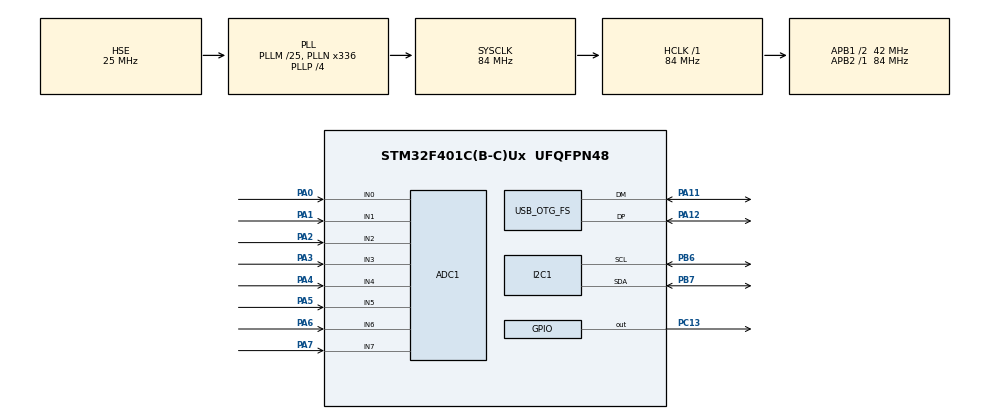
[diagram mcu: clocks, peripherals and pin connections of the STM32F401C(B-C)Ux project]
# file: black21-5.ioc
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ADC1.Channel-0\#ChannelRegularConversion=ADC_CHANNEL_0
ADC1.Channel-1\#ChannelRegularConversion=ADC_CHANNEL_1
ADC1.Channel-2\#ChannelRegularConversion=ADC_CHANNEL_2
ADC1.Channel-3\#ChannelRegularConversion=ADC_CHANNEL_3
ADC1.Channel-4\#ChannelRegularConversion=ADC_CHANNEL_4
ADC1.Channel-5\#ChannelRegularConversion=ADC_CHANNEL_5
ADC1.Channel-6\#ChannelRegularConversion=ADC_CHANNEL_6
ADC1.Channel-7\#ChannelRegularConversion=ADC_CHANNEL_7
ADC1.NbrOfConversion=8
ADC1.NbrOfConversionFlag=1
ADC1.Rank-0\#ChannelRegularConversion=1
ADC1.Rank-1\#ChannelRegularConversion=2
ADC1.Rank-2\#ChannelRegularConversion=3
ADC1.Rank-3\#ChannelRegularConversion=4
ADC1.Rank-4\#ChannelRegularConversion=5
ADC1.Rank-5\#ChannelRegularConversion=6
ADC1.Rank-6\#ChannelRegularConversion=7
ADC1.Rank-7\#ChannelRegularConversion=8
ADC1.SamplingTime-0\#ChannelRegularConversion=ADC_SAMPLETIME_15CYCLES
ADC1.SamplingTime-1\#ChannelRegularConversion=ADC_SAMPLETIME_15CYCLES
ADC1.SamplingTime-2\#ChannelRegularConversion=ADC_SAMPLETIME_15CYCLES
ADC1.SamplingTime-3\#ChannelRegularConversion=ADC_SAMPLETIME_15CYCLES
ADC1.SamplingTime-4\#ChannelRegularConversion=ADC_SAMPLETIME_15CYCLES
ADC1.SamplingTime-5\#ChannelRegularConversion=ADC_SAMPLETIME_15CYCLES
ADC1.SamplingTime-6\#ChannelRegularConversion=ADC_SAMPLETIME_15CYCLES
ADC1.SamplingTime-7\#ChannelRegularConversion=ADC_SAMPLETIME_15CYCLES
ADC1.master=1
Dma.ADC1.0.Direction=DMA_PERIPH_TO_MEMORY
Dma.ADC1.0.FIFOMode=DMA_FIFOMODE_DISABLE
Dma.ADC1.0.Instance=DMA2_Stream0
Dma.ADC1.0.MemDataAlignment=DMA_MDATAALIGN_HALFWORD
Dma.ADC1.0.MemInc=DMA_MINC_ENABLE
Dma.ADC1.0.Mode=DMA_NORMAL
Dma.ADC1.0.PeriphDataAlignment=DMA_PDATAALIGN_HALFWORD
Dma.ADC1.0.PeriphInc=DMA_PINC_DISABLE
Dma.ADC1.0.Priority=DMA_PRIORITY_LOW
Dma.Request0=ADC1
I2C1.I2C_Mode=I2C_Fast
Mcu.Family=STM32F4
Mcu.Name=STM32F401C(B-C)Ux
Mcu.Package=UFQFPN48
NVIC.DMA2_Stream0_IRQn=true\:0\:0\:false\:false\:true\:false\:true\:true
NVIC.OTG_FS_IRQn=true\:0\:0\:false\:false\:true\:false\:true\:true
NVIC.PriorityGroup=NVIC_PRIORITYGROUP_4
PA0-WKUP.Signal=ADCx_IN0
PA1.Signal=ADCx_IN1
PA11.Mode=Device_Only
PA11.Signal=USB_OTG_FS_DM
PA12.Mode=Device_Only
PA12.Signal=USB_OTG_FS_DP
PA2.Signal=ADCx_IN2
PA3.Signal=ADCx_IN3
PA4.Signal=ADCx_IN4
PA5.Signal=ADCx_IN5
PA6.Signal=ADCx_IN6
PA7.Signal=ADCx_IN7
PB6.Mode=I2C
PB6.Signal=I2C1_SCL
PB7.Mode=I2C
PB7.Signal=I2C1_SDA
PC13-ANTI_TAMP.Signal=GPIO_Output
PH0\ -\ OSC_IN.Mode=HSE-External-Oscillator
PH0\ -\ OSC_IN.Signal=RCC_OSC_IN
PH1\ -\ OSC_OUT.Mode=HSE-External-Oscillator
PH1\ -\ OSC_OUT.Signal=RCC_OSC_OUT
ProjectManager.HeapSize=0x200
ProjectManager.StackSize=0x400
ProjectManager.TargetToolchain=STM32CubeIDE
RCC.48MHZClocksFreq_Value=48000000
RCC.AHBFreq_Value=84000000
RCC.APB1CLKDivider=RCC_HCLK_DIV2
RCC.APB1Freq_Value=42000000
RCC.APB1TimFreq_Value=84000000
RCC.APB2Freq_Value=84000000
RCC.APB2TimFreq_Value=84000000
RCC.CortexFreq_Value=84000000
RCC.HCLKFreq_Value=84000000
RCC.HSE_VALUE=25000000
RCC.HSI_VALUE=16000000
RCC.LSE_VALUE=32768
RCC.PLLM=25
RCC.PLLN=336
RCC.PLLP=RCC_PLLP_DIV4
RCC.PLLQ=7
RCC.SYSCLKFreq_VALUE=84000000
RCC.SYSCLKSource=RCC_SYSCLKSOURCE_PLLCLK
RCC.VCOOutputFreq_Value=336000000
SH.ADCx_IN0.0=ADC1_IN0,IN0
SH.ADCx_IN1.0=ADC1_IN1,IN1
SH.ADCx_IN2.0=ADC1_IN2,IN2
SH.ADCx_IN3.0=ADC1_IN3,IN3
SH.ADCx_IN4.0=ADC1_IN4,IN4
SH.ADCx_IN5.0=ADC1_IN5,IN5
SH.ADCx_IN6.0=ADC1_IN6,IN6
SH.ADCx_IN7.0=ADC1_IN7,IN7
USB_DEVICE.CLASS_NAME_FS=CDC
USB_DEVICE.VirtualMode=Cdc
USB_DEVICE.VirtualModeFS=Cdc_FS
USB_OTG_FS.VirtualMode=Device_Only
VP_USB_DEVICE_VS_USB_DEVICE_CDC_FS.Mode=CDC_FS
board=custom

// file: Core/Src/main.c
/* USER CODE BEGIN Header */
/* USER CODE END Header */
#include "main.h"
#include "usb_device.h"

/* USER CODE BEGIN Includes */
#include "mpu6050.h"
//#include "i2c.h"
/* USER CODE END Includes */

ADC_HandleTypeDef hadc1;
DMA_HandleTypeDef hdma_adc1;

I2C_HandleTypeDef hi2c1;

/* USER CODE BEGIN PV */
MPU6050_t MPU6050;

uint32_t 	ticker;
uint8_t		MPUready;
uint8_t		ADCready;
uint16_t	ADCcopy[8];
uint16_t	ADCbuffer[8];
char		msg[16];
char 		salto[2]="\n";

/* USER CODE END PV */

void SystemClock_Config(void);
static void MX_GPIO_Init(void);
static void MX_DMA_Init(void);
static void MX_ADC1_Init(void);
static void MX_I2C1_Init(void);

/* USER CODE BEGIN 0 */
void HAL_ADC_ConvCpltCallback(ADC_HandleTypeDef *hadc){
	memcpy(ADCcopy, ADCbuffer, sizeof(ADCbuffer));
	//ADCready=1;		//Descomentar para
	// HAL_GPIO_TogglePin(GPIOC, GPIO_PIN_13);
}
void HAL_GPIO_EXTI_Callback(uint16_t GPIO_Pin) {
    if (GPIO_Pin == GPIO_PIN_0) {
        // Toggle LED en PC13
    }
}
/* USER CODE END 0 */

int main(void)
{

  /* MCU Configuration--------------------------------------------------------*/

  /* Reset of all peripherals, Initializes the Flash interface and the Systick. */
  HAL_Init();
  /* USER CODE BEGIN Init */
  ticker=0;
  ADCready=0;
  MPUready=0;
  /* USER CODE END Init */

  /* Configure the system clock */
  SystemClock_Config();
  /* Initialize all configured peripherals */
  MX_GPIO_Init();
  MX_DMA_Init();
  MX_ADC1_Init();
  MX_USB_DEVICE_Init();
  MX_I2C1_Init();
  /* USER CODE BEGIN 2 */
  while (MPU6050_Init(&hi2c1) == 1);
  HAL_ADC_Start_DMA(&hadc1, (uint32_t*)ADCbuffer, 8);
 // HAL_ADC_Start_DMA(&hadc1, ADCbuffer, 16);
  /* USER CODE END 2 */

  /* Infinite loop */
  /* USER CODE BEGIN WHILE */
  	while(1){
		if(HAL_GetTick()-ticker >= 1000){ // BEGIN Delay no Blocking
			ticker= HAL_GetTick();
			//HAL_ADC_Start_DMA(&hadc1, (uint32_t*)ADCbuffer, 8);
			HAL_GPIO_TogglePin(GPIOC, GPIO_PIN_13);
			//MPU6050_Read_Accel(&hi2c1, &MPU6050);
			MPU6050_Read_All(&hi2c1, &MPU6050);
			itoa(MPU6050.KalmanAngleX, msg, 10);
			CDC_Transmit_FS(msg, sizeof(msg) - 1);
			//msg[]="\r\n";
			CDC_Transmit_FS(salto, sizeof(salto) - 1);
			if(ADCready){
				  ADCready=0;
				  for(uint8_t i=0; i<8; i++ ){
					  sprintf(msg,"IN%d = %d \r\n", i, ADCbuffer[i]);
					  CDC_Transmit_FS(msg, strlen(msg));
				  }
			}
			if(MPUready){		// ESTO NO FUNCIONA
				MPUready=0;
			 }
			 }	// END Delay no Blocking

  }// END WHILE(1)
    /* USER CODE END WHILE */

}

void SystemClock_Config(void)
{
  RCC_OscInitTypeDef RCC_OscInitStruct = {0};
  RCC_ClkInitTypeDef RCC_ClkInitStruct = {0};

  /** Configure the main internal regulator output voltage
  */
  __HAL_RCC_PWR_CLK_ENABLE();
  __HAL_PWR_VOLTAGESCALING_CONFIG(PWR_REGULATOR_VOLTAGE_SCALE2);

  /** Initializes the RCC Oscillators according to the specified parameters
  * in the RCC_OscInitTypeDef structure.
  */
  RCC_OscInitStruct.OscillatorType = RCC_OSCILLATORTYPE_HSE;
  RCC_OscInitStruct.HSEState = RCC_HSE_ON;
  RCC_OscInitStruct.PLL.PLLState = RCC_PLL_ON;
  RCC_OscInitStruct.PLL.PLLSource = RCC_PLLSOURCE_HSE;
  RCC_OscInitStruct.PLL.PLLM = 25;
  RCC_OscInitStruct.PLL.PLLN = 336;
  RCC_OscInitStruct.PLL.PLLP = RCC_PLLP_DIV4;
  RCC_OscInitStruct.PLL.PLLQ = 7;
  if (HAL_RCC_OscConfig(&RCC_OscInitStruct) != HAL_OK)
  {
    Error_Handler();
  }

  /** Initializes the CPU, AHB and APB buses clocks
  */
  RCC_ClkInitStruct.ClockType = RCC_CLOCKTYPE_HCLK|RCC_CLOCKTYPE_SYSCLK
                              |RCC_CLOCKTYPE_PCLK1|RCC_CLOCKTYPE_PCLK2;
  RCC_ClkInitStruct.SYSCLKSource = RCC_SYSCLKSOURCE_PLLCLK;
  RCC_ClkInitStruct.AHBCLKDivider = RCC_SYSCLK_DIV1;
  RCC_ClkInitStruct.APB1CLKDivider = RCC_HCLK_DIV2;
  RCC_ClkInitStruct.APB2CLKDivider = RCC_HCLK_DIV1;

  if (HAL_RCC_ClockConfig(&RCC_ClkInitStruct, FLASH_LATENCY_2) != HAL_OK)
  {
    Error_Handler();
  }
}

static void MX_ADC1_Init(void)
{

  ADC_ChannelConfTypeDef sConfig = {0};

  /** Configure the global features of the ADC (Clock, Resolution, Data Alignment and number of conversion)
  */
  hadc1.Instance = ADC1;
  hadc1.Init.ClockPrescaler = ADC_CLOCK_SYNC_PCLK_DIV4;
  hadc1.Init.Resolution = ADC_RESOLUTION_12B;
  hadc1.Init.ScanConvMode = ENABLE;
  hadc1.Init.ContinuousConvMode = DISABLE;
  hadc1.Init.DiscontinuousConvMode = DISABLE;
  hadc1.Init.ExternalTrigConvEdge = ADC_EXTERNALTRIGCONVEDGE_NONE;
  hadc1.Init.ExternalTrigConv = ADC_SOFTWARE_START;
  hadc1.Init.DataAlign = ADC_DATAALIGN_RIGHT;
  hadc1.Init.NbrOfConversion = 8;
  hadc1.Init.DMAContinuousRequests = DISABLE;
  hadc1.Init.EOCSelection = ADC_EOC_SINGLE_CONV;
  if (HAL_ADC_Init(&hadc1) != HAL_OK)
  {
    Error_Handler();
  }

  /** Configure for the selected ADC regular channel its corresponding rank in the sequencer and its sample time.
  */
  sConfig.Channel = ADC_CHANNEL_0;
  sConfig.Rank = 1;
  sConfig.SamplingTime = ADC_SAMPLETIME_15CYCLES;
  if (HAL_ADC_ConfigChannel(&hadc1, &sConfig) != HAL_OK)
  {
    Error_Handler();
  }

  /** Configure for the selected ADC regular channel its corresponding rank in the sequencer and its sample time.
  */
  sConfig.Channel = ADC_CHANNEL_1;
  sConfig.Rank = 2;
  if (HAL_ADC_ConfigChannel(&hadc1, &sConfig) != HAL_OK)
  {
    Error_Handler();
  }

  /** Configure for the selected ADC regular channel its corresponding rank in the sequencer and its sample time.
  */
  sConfig.Channel = ADC_CHANNEL_2;
  sConfig.Rank = 3;
  if (HAL_ADC_ConfigChannel(&hadc1, &sConfig) != HAL_OK)
  {
    Error_Handler();
  }

  /** Configure for the selected ADC regular channel its corresponding rank in the sequencer and its sample time.
  */
  sConfig.Channel = ADC_CHANNEL_3;
  sConfig.Rank = 4;
  if (HAL_ADC_ConfigChannel(&hadc1, &sConfig) != HAL_OK)
  {
    Error_Handler();
  }

  /** Configure for the selected ADC regular channel its corresponding rank in the sequencer and its sample time.
  */
  sConfig.Channel = ADC_CHANNEL_4;
  sConfig.Rank = 5;
  if (HAL_ADC_ConfigChannel(&hadc1, &sConfig) != HAL_OK)
  {
    Error_Handler();
  }

  /** Configure for the selected ADC regular channel its corresponding rank in the sequencer and its sample time.
  */
  sConfig.Channel = ADC_CHANNEL_5;
  sConfig.Rank = 6;
  if (HAL_ADC_ConfigChannel(&hadc1, &sConfig) != HAL_OK)
  {
    Error_Handler();
  }

  /** Configure for the selected ADC regular channel its corresponding rank in the sequencer and its sample time.
  */
  sConfig.Channel = ADC_CHANNEL_6;
  sConfig.Rank = 7;
  if (HAL_ADC_ConfigChannel(&hadc1, &sConfig) != HAL_OK)
  {
    Error_Handler();
  }

  /** Configure for the selected ADC regular channel its corresponding rank in the sequencer and its sample time.
  */
  sConfig.Channel = ADC_CHANNEL_7;
  sConfig.Rank = 8;
  if (HAL_ADC_ConfigChannel(&hadc1, &sConfig) != HAL_OK)
  {
    Error_Handler();
  }

}

static void MX_I2C1_Init(void)
{

  hi2c1.Instance = I2C1;
  hi2c1.Init.ClockSpeed = 400000;
  hi2c1.Init.DutyCycle = I2C_DUTYCYCLE_2;
  hi2c1.Init.OwnAddress1 = 0;
  hi2c1.Init.AddressingMode = I2C_ADDRESSINGMODE_7BIT;
  hi2c1.Init.DualAddressMode = I2C_DUALADDRESS_DISABLE;
  hi2c1.Init.OwnAddress2 = 0;
  hi2c1.Init.GeneralCallMode = I2C_GENERALCALL_DISABLE;
  hi2c1.Init.NoStretchMode = I2C_NOSTRETCH_DISABLE;
  if (HAL_I2C_Init(&hi2c1) != HAL_OK)
  {
    Error_Handler();
  }

}

static void MX_DMA_Init(void)
{

  /* DMA controller clock enable */
  __HAL_RCC_DMA2_CLK_ENABLE();

  /* DMA interrupt init */
  /* DMA2_Stream0_IRQn interrupt configuration */
  HAL_NVIC_SetPriority(DMA2_Stream0_IRQn, 0, 0);
  HAL_NVIC_EnableIRQ(DMA2_Stream0_IRQn);

}

static void MX_GPIO_Init(void)
{
  GPIO_InitTypeDef GPIO_InitStruct = {0};

  /* GPIO Ports Clock Enable */
  __HAL_RCC_GPIOC_CLK_ENABLE();
  __HAL_RCC_GPIOH_CLK_ENABLE();
  __HAL_RCC_GPIOA_CLK_ENABLE();
  __HAL_RCC_GPIOB_CLK_ENABLE();

  /*Configure GPIO pin Output Level */
  HAL_GPIO_WritePin(GPIOC, GPIO_PIN_13, GPIO_PIN_RESET);

  /*Configure GPIO pin : PC13 */
  GPIO_InitStruct.Pin = GPIO_PIN_13;
  GPIO_InitStruct.Mode = GPIO_MODE_OUTPUT_PP;
  GPIO_InitStruct.Pull = GPIO_NOPULL;
  GPIO_InitStruct.Speed = GPIO_SPEED_FREQ_LOW;
  HAL_GPIO_Init(GPIOC, &GPIO_InitStruct);

}

void Error_Handler(void)
{
}
